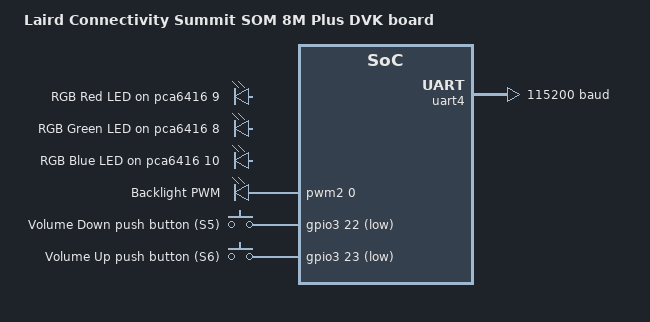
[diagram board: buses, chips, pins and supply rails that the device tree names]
/*
 * Copyright (c) 2022, Laird Connectivity
 *
 * SPDX-License-Identifier: Apache-2.0
 */

/dts-v1/;
#include <lairdconnectivity/summit_som8mplus.dtsi>
#include <dt-bindings/gpio/gpio.h>

/ {
	model = "Laird Connectivity Summit SOM 8M Plus DVK board";
	compatible = "lairdconnect,summit-som8mplus-dvk";

	leds {
		compatible = "gpio-leds";
		red_led: led_0 {
			gpios = <&pca6416 9 GPIO_ACTIVE_HIGH>;
			label = "RGB Red LED";
		};
		green_led: led_1 {
			gpios = <&pca6416 8 GPIO_ACTIVE_HIGH>;
			label = "RGB Green LED";
		};
		blue_led: led_2 {
			gpios = <&pca6416 10 GPIO_ACTIVE_HIGH>;
			label = "RGB Blue LED";
		};
	};

	pwmleds {
		compatible = "pwm-leds";

		pwm_bl: pwm-bl {
			pwms = <&pwm2 0 30>;
			label = "Backlight PWM";
		};
	};

	buttons {
		compatible = "gpio-keys";
		button5: button5 {
			gpios = <&gpio3 22 GPIO_ACTIVE_LOW>;
			label = "Volume Down push button (S5)";
		};
		button6: button6 {
			gpios = <&gpio3 23 GPIO_ACTIVE_LOW>;
			label = "Volume Up push button (S6)";
		};
	};

	aliases {
		volumedownbtn = &button5;
		volumeupbtn = &button6;
		led0 = &red_led;
		led1 = &green_led;
		led2 = &blue_led;
		sw0 = &button5;
		pwm-led0 = &pwm_bl;
	};

	chosen {
		zephyr,flash-controller = &flexspi;
		zephyr,flash = &mt25qu256aba;
		zephyr,canbus = &flexcan1;
		zephyr,can-primary = &flexcan1;
	};
};

&uart4 {
	status = "okay";
	current-speed = <115200>;
};

&i2c3 {
	status = "disabled";

	pca6416: gpio@20 {
		compatible = "nxp,pca95xx";
		label = "IOEXP";
		reg = <0x20>;
		gpio-controller;
		#gpio-cells = <2>;
		status = "disabled";
	};
};

&flexcan1 {
	bus-speed = <1000000>;
	status = "disabled";
};

&flexcan2 {
	bus-speed = <1000000>;
	status = "disabled";
};

&flexspi {
	status = "disabled";

	mt25qu256aba: mt25qu256aba@0 {
		compatible = "nxp,imx-flexspi-nor", "jedec,spi-nor";
		reg = <0>;
		spi-max-frequency = <80000000>;
		status = "disabled";
		jedec-id = [bb 19 20];
		size = <DT_SIZE_M(32)>;
		label = "FLASH_0";
	};
};
